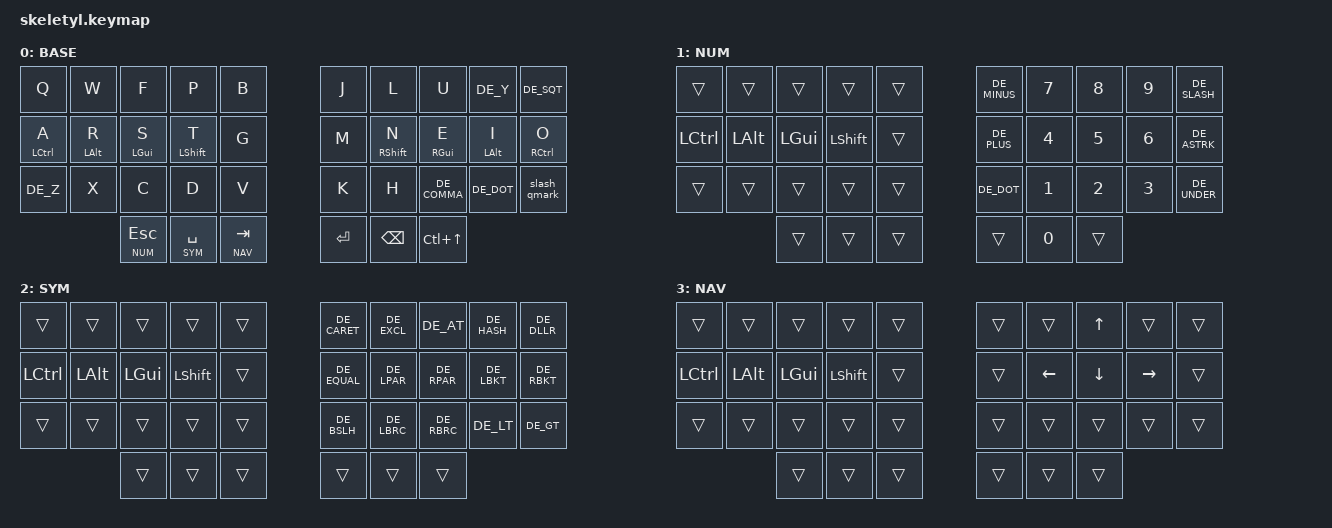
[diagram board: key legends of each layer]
#include <behaviors.dtsi>
#include <dt-bindings/zmk/bt.h>
#include <dt-bindings/zmk/keys.h>
#include <dt-bindings/zmk/outputs.h>
#include "keys_de.h"
#include "homerow_mods.dtsi"

#define BASE    0
#define NUM     1
#define SYM     2
#define NAV     3

/*   36 KEY MATRIX / LAYOUT MAPPING

  ╭────────────────┬────────────────╮
  │  0  1  2  3  4 │  5  6  7  8  9 │
  │ 10 11 12 13 14 │ 15 16 17 18 19 │
  │ 20 21 22 23 24 │ 25 26 27 28 29 │
  ╰─────╮ 30 31 32 │ 33 34 35 ╭─────╯
        ╰──────────┴──────────╯         */

/ {
    behaviors {
        slash_qmark: slash_qmark {
            compatible = "zmk,behavior-mod-morph";
            #binding-cells = <0>;
            bindings = <&kp DE_SLASH>, <&kp DE_QMARK>;
            mods = <(MOD_LSFT|MOD_RSFT)>;
        };
    };

    combos {
        compatible = "zmk,combos";

        combo_bt0 {
            timeout-ms = <50>;
            key-positions = <0 10 20>;
            bindings = <&bt BT_SEL 0>;
            require-prior-idle-ms = <150>;
        };

        combo_bt1 {
            timeout-ms = <50>;
            key-positions = <9 19 29>;
            bindings = <&bt BT_SEL 1>;
            require-prior-idle-ms = <150>;
        };

        combo_bt_clr {
            timeout-ms = <50>;
            key-positions = <0 9 20 29>;
            bindings = <&bt BT_CLR>;
            require-prior-idle-ms = <150>;
        };
    };

    keymap {
        compatible = "zmk,keymap";

        BASE {
            bindings = <
                &kp Q          &kp W       &kp F       &kp P          &kp B        &kp J  &kp L          &kp U          &kp DE_Y      &kp DE_SQT
                &hml LCTRL A   &hml LALT R &hml LGUI S &hml LSHIFT T  &kp G        &kp M  &hmr RSHIFT N  &hmr RGUI E    &hmr LALT I   &hmr RCTRL O
                &kp DE_Z       &kp X       &kp C       &kp D          &kp V        &kp K  &kp H          &kp DE_COMMA   &kp DE_DOT    &slash_qmark
                          &lt NUM ESC  &lt SYM SPACE  &lt NAV TAB        &kp ENTER  &kp BSPC  &kp LC(UP)
            >;
        };

        NUM {
            bindings = <
                &trans         &trans      &trans      &trans         &trans       &kp DE_MINUS   &kp N7         &kp N8         &kp N9        &kp DE_SLASH
                &kp LCTRL      &kp LALT    &kp LGUI    &kp LSHIFT     &trans       &kp DE_PLUS    &kp N4         &kp N5         &kp N6        &kp DE_ASTRK
                &trans         &trans      &trans      &trans         &trans       &kp DE_DOT     &kp N1         &kp N2         &kp N3        &kp DE_UNDER
                                       &trans   &trans   &trans          &trans   &kp N0   &trans
            >;
        };

        SYM {
            bindings = <
                &trans         &trans      &trans      &trans         &trans       &kp DE_CARET   &kp DE_EXCL    &kp DE_AT      &kp DE_HASH   &kp DE_DLLR
                &kp LCTRL      &kp LALT    &kp LGUI    &kp LSHIFT     &trans       &kp DE_EQUAL   &kp DE_LPAR    &kp DE_RPAR    &kp DE_LBKT   &kp DE_RBKT
                &trans         &trans      &trans      &trans         &trans       &kp DE_BSLH    &kp DE_LBRC    &kp DE_RBRC    &kp DE_LT     &kp DE_GT
                                       &trans   &trans   &trans          &trans   &trans   &trans
            >;
        };

        NAV {
            bindings = <
                &trans         &trans      &trans      &trans         &trans       &trans     &trans         &kp UP         &trans        &trans
                &kp LCTRL      &kp LALT    &kp LGUI    &kp LSHIFT     &trans       &trans     &kp LEFT       &kp DOWN       &kp RIGHT     &trans
                &trans         &trans      &trans      &trans         &trans       &trans     &trans         &trans         &trans        &trans
                                       &trans   &trans   &trans          &trans   &trans   &trans
            >;
        };
    };
};
